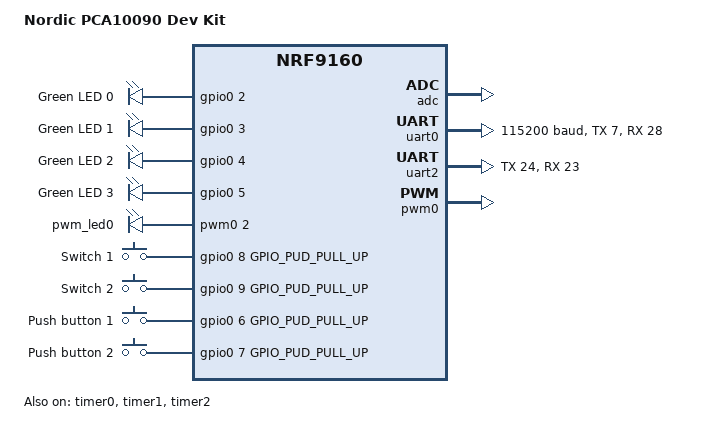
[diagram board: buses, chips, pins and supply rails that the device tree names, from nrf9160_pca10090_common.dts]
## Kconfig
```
#
# Copyright (c) 2018 Nordic Semiconductor ASA
#
# SPDX-License-Identifier: LicenseRef-BSD-5-Clause-Nordic
#

menu "MQTT simple sample"
config APPLICATION_WORKQUEUE_STACK_SIZE
	int "Application workqueue stack size"
	default 4096

config APPLICATION_WORKQUEUE_PRIORITY
	int "Application workqueue priority"
	default SYSTEM_WORKQUEUE_PRIORITY
	
config MQTT_PUB_TOPIC
	string "MQTT publish topic"
	default "my/publish/topic"

config MQTT_SUB_TOPIC
	string "MQTT subscribe topic"
	default "my/subscribe/topic"

config MQTT_CLIENT_ID
	string "MQTT Client ID"
	default "my-client-id"

config MQTT_BROKER_HOSTNAME
	string "MQTT broker hostname"
	default "mqtt.eclipse.org"

config MQTT_BROKER_PORT
	int "MQTT broker port"
	default 1883

config MQTT_MESSAGE_BUFFER_SIZE
	int "MQTT message buffer size"
	default 128

config MQTT_PAYLOAD_BUFFER_SIZE
	int "MQTT payload buffer size"
	default 128

#add by liming
config SEC_TAG
	int "Security tag to use for the connection"
	default 16842753

config PEER_VERIFY
	int "Peer verify parameter for mqtt_client"
	default 1
	help
		Set to 0 for VERIFY_NONE, 1 for VERIFY_OPTIONAL, and 2 for VERIFY_REQUIRED.

endmenu

menu "Zephyr Kernel"
source "$ZEPHYR_BASE/Kconfig.zephyr"
endmenu
```

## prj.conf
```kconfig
#
# Copyright (c) 2019 Nordic Semiconductor ASA
#
# SPDX-License-Identifier: LicenseRef-BSD-5-Clause-Nordic
#
# General config
CONFIG_NEWLIB_LIBC=y
CONFIG_NEWLIB_LIBC_FLOAT_PRINTF=y
CONFIG_ASSERT=y
CONFIG_REBOOT=y
CONFIG_GPIO=n
CONFIG_TRUSTED_EXECUTION_NONSECURE=y

# Log
CONFIG_LOG=y
CONFIG_LOG_IMMEDIATE=y
CONFIG_USE_SEGGER_RTT=y
CONFIG_LOG_BACKEND_RTT=y
CONFIG_LOG_BACKEND_UART=n
CONFIG_LOG_DEFAULT_LEVEL=4
CONFIG_LOG_MODE_OVERFLOW=y
CONFIG_LOG_BACKEND_RTT_MODE_DROP=y
CONFIG_LOG_BACKEND_SHOW_COLOR=n
CONFIG_LOG_BACKEND_FORMAT_TIMESTAMP=n

# Modem info
CONFIG_MODEM_INFO=y

# BSD library
CONFIG_BSD_LIBRARY=y
CONFIG_BSD_LIBRARY_TRACE_ENABLED=n

# Flash
CONFIG_FLASH=y
CONFIG_IMG_ERASE_PROGRESSIVELY=y

# NVS
CONFIG_FLASH=y
CONFIG_FLASH_PAGE_LAYOUT=y
CONFIG_NVS=y
CONFIG_NVS_LOG_LEVEL_DBG=y
CONFIG_MPU_ALLOW_FLASH_WRITE=y

# GPS
CONFIG_AT_CMD=y
CONFIG_AT_NOTIF=y

# AT_CMD
CONFIG_AT_HOST_LIBRARY=y
CONFIG_UART_INTERRUPT_DRIVEN=y

# Console
CONFIG_CONSOLE_SUBSYS=n
CONFIG_CONSOLE_HANDLER=n
CONFIG_CONSOLE_GETCHAR=n
CONFIG_CONSOLE=n
CONFIG_RTT_CONSOLE=n
CONFIG_UART_CONSOLE=n

# Enable SUPL client support AGPS
CONFIG_SUPL_CLIENT_LIB=n

# Network
CONFIG_NETWORKING=y
CONFIG_NET_NATIVE=n
CONFIG_NET_SOCKETS=y
CONFIG_NET_SOCKETS_OFFLOAD=y
CONFIG_NET_SOCKETS_POSIX_NAMES=y
CONFIG_NET_SOCKETS_SOCKOPT_TLS=y

# LTE link control
CONFIG_LTE_LINK_CONTROL=y
CONFIG_LTE_AUTO_INIT_AND_CONNECT=n
CONFIG_LTE_NETWORK_USE_FALLBACK=n
CONFIG_LTE_NETWORK_TIMEOUT=600
#add by liming
#CONFIG_POWER_OPTIMIZATION_ENABLE=n
CONFIG_LTE_NETWORK_MODE_LTE_M_GPS=n
#CONFIG_LTE_LINK_CONTROL_LOG_LEVEL_DBG=y
CONFIG_LTE_NETWORK_MODE_NBIOT_GPS=y
CONFIG_LTE_LEGACY_PCO_MODE=y
#CONFIG_LTE_PSM_REQ_RPTAU="00000110"
#CONFIG_LTE_PSM_REQ_RAT="00000010"

# MQTT
CONFIG_MQTT_LIB=y
CONFIG_MQTT_LIB_TLS=y   
#add by liming
CONFIG_MQTT_CLIENT_ID="devzone_client"
CONFIG_MQTT_BROKER_HOSTNAME="test.mosquitto.org"
CONFIG_MQTT_BROKER_PORT=8884
CONFIG_SEC_TAG=51966
CONFIG_PEER_VERIFY=1

# Appliaction
#CONFIG_MQTT_PUB_TOPIC="/my/publish/topic"
#CONFIG_MQTT_SUB_TOPIC="/my/subscribe/topic"
#CONFIG_MQTT_CLIENT_ID="my-client-id"
#CONFIG_MQTT_BROKER_HOSTNAME="mqtt.eclipse.org"
#CONFIG_MQTT_BROKER_PORT=1883

# Library for buttons and LEDs
CONFIG_DK_LIBRARY=y
CONFIG_DK_LIBRARY_INVERT_LEDS=n

# Heap and stacks
CONFIG_HEAP_MEM_POOL_SIZE=16384
CONFIG_MAIN_STACK_SIZE=8192
CONFIG_SYSTEM_WORKQUEUE_STACK_SIZE=2048
CONFIG_HW_STACK_PROTECTION=y

# MCUBOOT
#CONFIG_BOOTLOADER_MCUBOOT=y
#CONFIG_IMG_MANAGER=y
#CONFIG_MCUBOOT_IMG_MANAGER=y

# SPI
#CONFIG_SPI=y
#CONFIG_SPI_NRFX=y
#CONFIG_SPI_2=y
#CONFIG_SPI_2_NRF_SPIM=y
#CONFIG_SPI_3=y
#CONFIG_SPI_3_NRF_SPIM=y

# I2C
#CONFIG_I2C=y
#CONFIG_I2C_NRFX=y
#CONFIG_I2C_1=y
#CONFIG_I2C_1_NRF_TWIM=y
#CONFIG_I2C_2=n
#CONFIG_I2C_2_NRF_TWIM=n
#CONFIG_I2C_INIT_PRIORITY=60

# UART
CONFIG_SERIAL=y
CONFIG_UART_INTERRUPT_DRIVEN=y
#CONFIG_UART_LINE_CTRL=y
#CONFIG_UART_0_NRF_UART=y
#CONFIG_UART_0_NRF_UARTE=y
#CONFIG_UART_0_NRF_FLOW_CONTROL=n
#CONFIG_UART_1_NRF_UARTE=n
#CONFIG_UART_1_NRF_FLOW_CONTROL=n

# Use smaller buffers for net_buf as CANBUS packets are quite small.
CONFIG_NET_BUF_DATA_SIZE=64
CONFIG_NET_BUF_USER_DATA_SIZE=1
```

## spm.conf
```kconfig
# Configuration copied from the nRF Secure Partition Manager (SPM) sample:
CONFIG_IS_SPM=y
CONFIG_FW_INFO=y
CONFIG_GPIO=n
CONFIG_SERIAL=n
CONFIG_LOG=n
```

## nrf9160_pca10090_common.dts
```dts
/*
 * Copyright (c) 2018 Nordic Semiconductor ASA
 *
 * SPDX-License-Identifier: Apache-2.0
 */

/ {
	model = "Nordic PCA10090 Dev Kit";
	compatible = "nordic,pca10090-dk", "nordic,nrf9160-sica",
		     "nordic,nrf9160";

	chosen {
		zephyr,console = &uart0;
		zephyr,shell-uart = &uart0;
		zephyr,uart-mcumgr = &uart0;
	};

	leds {
		compatible = "gpio-leds";
		led0: led_0 {
			gpios = <&gpio0 2 GPIO_INT_ACTIVE_HIGH>;
			label = "Green LED 0";
		};
		led1: led_1 {
			gpios = <&gpio0 3 GPIO_INT_ACTIVE_HIGH>;
			label = "Green LED 1";
		};
		led2: led_2 {
			gpios = <&gpio0 4 GPIO_INT_ACTIVE_HIGH>;
			label = "Green LED 2";
		};
		led3: led_3 {
			gpios = <&gpio0 5 GPIO_INT_ACTIVE_HIGH>;
			label = "Green LED 3";
		};
	};

	pwmleds {
		compatible = "pwm-leds";
		pwm_led0: pwm_led_0 {
			pwms = <&pwm0 2>;
		};
	};

	buttons {
		compatible = "gpio-keys";
		button0: button_0 {
			gpios = <&gpio0 8 GPIO_PUD_PULL_UP>;
			label = "Switch 1";
		};
		button1: button_1 {
			gpios = <&gpio0 9 GPIO_PUD_PULL_UP>;
			label = "Switch 2";
		};
		button2: button_2 {
			gpios = <&gpio0 6 GPIO_PUD_PULL_UP>;
			label = "Push button 1";
		};
		button3: button_3 {
			gpios = <&gpio0 7 GPIO_PUD_PULL_UP>;
			label = "Push button 2";
		};
	};

	/* These aliases are provided for compatibility with samples */
	aliases {
		led0 = &led0;
		led1 = &led1;
		led2 = &led2;
		led3 = &led3;
		pwm-led0 = &pwm_led0;
		sw0 = &button2;
		sw1 = &button3;
		sw2 = &button0;
		sw3 = &button1;
	};
};

&adc {
	status = "okay";
};

&gpiote {
	status = "okay";
};

&gpio0 {
	status = "okay";
};

&uart0 {
	status = "okay";
	current-speed = <115200>;
	tx-pin = <7>;
	rx-pin = <28>;
	#rts-pin = <27>;
	#cts-pin = <26>;
};

&uart1 {
	status = "disabled";
	current-speed = <115200>;
	tx-pin = <1>;
	rx-pin = <0>;
	rts-pin = <14>;
	cts-pin = <15>;
};

&uart2 {
	tx-pin = <24>;
	rx-pin = <23>;
};

&i2c2 {
	compatible = "nordic,nrf-twim";
	status = "disabled";
	sda-pin = <30>;
	scl-pin = <31>;
};

&pwm0 {
	status = "okay";
	ch0-pin = <2>;
};

&timer0 {
	status = "okay";
};

&timer1 {
	status = "okay";
};

&timer2 {
	status = "okay";
};

&flash0 {
	/*
	 * For more information, see:
	 * http://docs.zephyrproject.org/latest/guides/dts/index.html#flash-partitions
	 */
	partitions {
		compatible = "fixed-partitions";
		#address-cells = <1>;
		#size-cells = <1>;

		boot_partition: partition@0 {
			label = "mcuboot";
			reg = <0x00000000 0x10000>;
		};
		slot0_partition: partition@10000 {
			label = "image-0";
		};
		slot0_ns_partition: partition@40000 {
			label = "image-0-nonsecure";
		};
		slot1_partition: partition@80000 {
			label = "image-1";
		};
		slot1_ns_partition: partition@b0000 {
			label = "image-1-nonsecure";
		};
		scratch_partition: partition@f0000 {
			label = "image-scratch";
			reg = <0x000f0000 0xa000>;
		};
		storage_partition: partition@fa000 {
			label = "storage";
			reg = <0x000fa000 0x00006000>;
		};
	};
};

/ {
	/* SRAM allocated and used by the BSD library */
	sram0_bsd: memory@20010000 {
		compatible = "mmio-sram";
	};

	/* SRAM allocated to the Non-Secure image */
	sram0_ns: memory@20020000 {
		compatible = "mmio-sram";
	};
};

/* Include partition configuration file */
#include "nrf9160_pca10090_partition_conf.dts"
```

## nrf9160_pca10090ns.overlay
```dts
&spi2{
	compatible = "nordic,nrf-spim";
	status = "disabled";
	sck-pin = <3>;
	mosi-pin = <4>;
	miso-pin = <5>;
};

&spi3{
	compatible = "nordic,nrf-spim";
	status = "disabled";
	sck-pin = <22>;
	mosi-pin = <20>;
	miso-pin = <20>;
};

&i2c1{
	compatible = "nordic,nrf-twim";
	status = "disabled";
	sda-pin = <11>;
	scl-pin = <12>;
	clock-frequency = <I2C_BITRATE_FAST>;
};

&uart0{
	status = "okay";
	current-speed = <115200>;
	tx-pin = <7>;
	rx-pin = <28>;
	#rts-pin = <14>;
	#cts-pin = <15>;
};
```

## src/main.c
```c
/*
* Copyright (c) 2019 Nordic Semiconductor ASA
*
* SPDX-License-Identifier: LicenseRef-BSD-5-Clause-Nordic
*/

#include <nrf9160.h>
#include <zephyr.h>
#include <kernel_structs.h>
#include <device.h>
#include <stdio.h>
#include <sys/printk.h>
#include <power/reboot.h>
#include <drivers/spi.h>
#include <drivers/gpio.h>
#include <dk_buttons_and_leds.h>
#include "lcd.h"
#include "datetime.h"
#include "font.h"
#include "img.h"
#include "inner_flash.h"
#include "external_flash.h"
#include "uart_ble.h"
#include "settings.h"
#include "CST816.h"
#include "Max20353.h"
#include "lsm6dso.h"
#include "Alarm.h"
#include "gps.h"
#include "screen.h"
#include "codetrans.h"

#include <logging/log_ctrl.h>
#include <logging/log.h>
LOG_MODULE_REGISTER(main, CONFIG_LOG_DEFAULT_LEVEL);

//#define ANALOG_CLOCK
#define DIGITAL_CLOCK
#define PI 3.1415926

static u8_t show_pic_count = 0;//图片显示顺序

/* Stack definition for application workqueue */
//K_THREAD_STACK_DEFINE(nb_stack_area,
//		      CONFIG_APPLICATION_WORKQUEUE_STACK_SIZE);
//static struct k_work_q nb_work_q;
//K_THREAD_STACK_DEFINE(imu_stack_area,
//              CONFIG_APPLICATION_WORKQUEUE_STACK_SIZE);
//static struct k_work_q imu_work_q;

/* Structures for work */
//static struct k_work nb_link_work;
//static struct k_delayed_work reboot_work;

struct device *gpio_test;

#if defined(ANALOG_CLOCK)
static void test_show_analog_clock(void);
#elif defined(DIGITAL_CLOCK)
static void test_show_digital_clock(void);
#endif
static void idle_show_time(void);

#ifdef ANALOG_CLOCK
void ClearAnalogHourPic(int hour)
{
	u16_t offset_x=4,offset_y=4;
	u16_t hour_x,hour_y,hour_w,hour_h;

	LCD_get_pic_size(clock_hour_1_31X31,&hour_w,&hour_h);
	hour_x = (LCD_WIDTH)/2;
	hour_y = (LCD_HEIGHT)/2;

	if((hour%12) == 3)
		LCD_Fill(hour_x-offset_x,hour_y+offset_y-hour_h,hour_w,hour_h,BLACK);
	else if((hour%12) == 6)
		LCD_Fill(hour_x-offset_x,hour_y-offset_y,hour_w,hour_h,BLACK);
	else if((hour%12) == 9)
		LCD_Fill(hour_x+offset_x-hour_w,hour_y-offset_y,hour_w,hour_h,BLACK);
	else if((hour%12) == 0)
		LCD_Fill(hour_x+offset_x-hour_w,hour_y+offset_y-hour_h,hour_w,hour_h,BLACK);
}

void DrawAnalogHourPic(int hour)
{
	u16_t offset_x=4,offset_y=4;
	u16_t hour_x,hour_y,hour_w,hour_h;
	unsigned int *hour_pic[3] = {clock_hour_1_31X31,clock_hour_2_31X31,clock_hour_3_31X31};

	LCD_get_pic_size(clock_hour_1_31X31,&hour_w,&hour_h);
	hour_x = (LCD_WIDTH)/2;
	hour_y = (LCD_HEIGHT)/2;

	if((hour%12)<3)
		LCD_dis_pic_rotate(hour_x-offset_x,hour_y+offset_y-hour_h,hour_pic[hour%3],0);
	else if(((hour%12)>=3) && ((hour%12)<6))
		LCD_dis_pic_rotate(hour_x-offset_x,hour_y-offset_y,hour_pic[hour%3],90);
	else if(((hour%12)>=6) && ((hour%12)<9))
		LCD_dis_pic_rotate(hour_x+offset_x-hour_w,hour_y-offset_y,hour_pic[hour%3],180);
	else if(((hour%12)>=9) && ((hour%12)<12))
		LCD_dis_pic_rotate(hour_x+offset_x-hour_w,hour_y+offset_y-hour_h,hour_pic[hour%3],270);
}

void ClearAnalogMinPic(int minute)
{
	u16_t offset_x=4,offset_y=4;
	u16_t min_x,min_y,min_w,min_h;
	
	LCD_get_pic_size(clock_min_1_31X31,&min_w,&min_h);
	min_x = (LCD_WIDTH)/2;
	min_y = (LCD_HEIGHT)/2;

	if(minute == 15)
		LCD_Fill(min_x-offset_x,min_y+offset_y-min_h,min_w,min_h,BLACK);
	else if(minute == 30)
		LCD_Fill(min_x-offset_x,min_y-offset_y,min_w,min_h,BLACK);
	else if(minute == 45)
		LCD_Fill(min_x+offset_x-min_w,min_y-offset_y,min_w,min_h,BLACK);
	else if(minute == 0)
		LCD_Fill(min_x+offset_x-min_w,min_y+offset_y-min_h,min_w,min_h,BLACK);
}

void DrawAnalogMinPic(int hour, int minute)
{
	u16_t offset_x=4,offset_y=4;
	u16_t min_x,min_y,min_w,min_h;
	unsigned int *min_pic[15] = {clock_min_1_31X31,clock_min_2_31X31,clock_min_3_31X31,clock_min_4_31X31,clock_min_5_31X31,\
								 clock_min_6_31X31,clock_min_7_31X31,clock_min_8_31X31,clock_min_9_31X31,clock_min_10_31X31,\
								 clock_min_11_31X31,clock_min_12_31X31,clock_min_13_31X31,clock_min_14_31X31,clock_min_15_31X31};
	
	LCD_get_pic_size(clock_min_1_31X31,&min_w,&min_h);
	min_x = (LCD_WIDTH)/2;
	min_y = (LCD_HEIGHT)/2;

	if(minute<15)
	{
		if((hour%12)<3)							//分针时针有重叠，透明显示
		{
			DrawAnalogHourPic(hour);
			LCD_dis_trans_pic_rotate(min_x-offset_x,min_y+offset_y-min_h,min_pic[minute%15],BLACK,0);
		}
		else if((hour%12)==3)		//临界点，分针不透明显示，但是不能遮盖时针
		{
			LCD_dis_pic_rotate(min_x-offset_x,min_y+offset_y-min_h,min_pic[minute%15],0);
			DrawAnalogHourPic(hour);
		}
		else
			LCD_dis_pic_rotate(min_x-offset_x,min_y+offset_y-min_h,min_pic[minute%15],0);
	}
	else if((minute>=15) && (minute<30))
	{
		if(((hour%12)>=3) && ((hour%12)<6))	//分针时针有重叠，透明显示
		{
			DrawAnalogHourPic(hour);
			LCD_dis_trans_pic_rotate(min_x-offset_x,min_y-offset_y,min_pic[minute%15],BLACK,90);
		}
		else if((hour%12)==6)		//临界点，分针不透明显示，但是不能遮盖时针
		{
			LCD_dis_pic_rotate(min_x-offset_x,min_y-offset_y,min_pic[minute%15],90);
			DrawAnalogHourPic(hour);
		}
		else
			LCD_dis_pic_rotate(min_x-offset_x,min_y-offset_y,min_pic[minute%15],90);
	}
	else if((minute>=30) && (minute<45))
	{
		if(((hour%12)>=6) && ((hour%12)<9))	//分针时针有重叠，透明显示
		{
			DrawAnalogHourPic(hour);
			LCD_dis_trans_pic_rotate(min_x+offset_x-min_w,min_y-offset_y,min_pic[minute%15],BLACK,180);
		}
		else if((hour%12)==9)		//临界点，分针不透明显示，但是不能遮盖时针
		{
			LCD_dis_pic_rotate(min_x+offset_x-min_w,min_y-offset_y,min_pic[minute%15],180);
			DrawAnalogHourPic(hour);
		}
		else
			LCD_dis_pic_rotate(min_x+offset_x-min_w,min_y-offset_y,min_pic[minute%15],180);
	}
	else if((minute>=45) && (minute<60))
	{
		if((hour%12)>=9)	//分针时针有重叠，透明显示
		{
			DrawAnalogHourPic(hour);
			LCD_dis_trans_pic_rotate(min_x+offset_x-min_w,min_y+offset_y-min_h,min_pic[minute%15],BLACK,270);
		}
		else if((hour%12)==0)		//临界点，分针不透明显示，但是不能遮盖时针
		{
			LCD_dis_pic_rotate(min_x+offset_x-min_w,min_y+offset_y-min_h,min_pic[minute%15],270);
			DrawAnalogHourPic(hour);
		}
		else
			LCD_dis_pic_rotate(min_x+offset_x-min_w,min_y+offset_y-min_h,min_pic[minute%15],270);
	}
}
#endif

/***************************************************************************
* 描  述 : idle_show_digit_clock 待机界面显示数字时钟
* 入  参 : 无 
* 返回值 : 无
**************************************************************************/
void idle_show_digital_clock(void)
{
	IdleShowSystemTime();
	
	if(show_date_time_first || ((date_time_changed&0x38) != 0))
	{
		IdleShowSystemDate();
		IdleShowSystemWeek();

		if(show_date_time_first)
			show_date_time_first = false;
		if((date_time_changed&0x38) != 0)
			date_time_changed = date_time_changed&0xC7;//清空日期变化标志位
	}
}

#ifdef ANALOG_CLOCK
/***************************************************************************
* 描  述 : idle_show_analog_clock 待机界面显示模拟时钟
* 入  参 : 无 
* 返回值 : 无
**************************************************************************/
void idle_show_analog_clock(void)
{
	u8_t str_date[20] = {0};
	u8_t str_week[20] = {0};
	u8_t *week_cn[7] = {"周日", "周一", "周二", "周三", "周四", "周五", "周六"};
	u8_t *week_en[7] = {"SUN", "MON", "TUE", "WED", "THU", "FRI", "SAT"};
	u16_t str_w,str_h;

	POINT_COLOR=WHITE;								//画笔颜色
	BACK_COLOR=BLACK;  								//背景色 
	
	LCD_SetFontSize(FONT_SIZE_16);

	sprintf((char*)str_date, "%02d/%02d", date_time.day,date_time.month);
	if(language_mode == 0)
		strcpy(str_week, week_cn[date_time.week]);
	else
		strcpy(str_week, week_en[date_time.week]);
	
	if(show_date_time_first)
	{
		show_date_time_first = false;
		DrawAnalogHourPic(date_time.hour);
		DrawAnalogMinPic(date_time.hour, date_time.minute);

		LCD_MeasureString(str_week, &str_w, &str_h);
		LCD_ShowString((LCD_WIDTH-str_w)/2, 15, str_week);

		LCD_MeasureString(str_date, &str_w, &str_h);
		LCD_ShowString((LCD_WIDTH-str_w)/2, 33, str_date);
	}
	else if(date_time_changed != 0)
	{
		if((date_time_changed&0x04) != 0)
		{
			DrawAnalogHourPic(date_time.hour);
			date_time_changed = date_time_changed&0xFB;
		}	
		if((date_time_changed&0x02) != 0)//分钟有变化
		{
			DrawAnalogHourPic(date_time.hour);
			DrawAnalogMinPic(date_time.hour, date_time.minute);
			date_time_changed = date_time_changed&0xFD;
		}
		if((date_time_changed&0x38) != 0)
		{
			LCD_MeasureString(str_week, &str_w, &str_h);
			LCD_ShowString((LCD_WIDTH-str_w)/2, 15, str_week);

			LCD_MeasureString(str_date, &str_w, &str_h);
			LCD_ShowString((LCD_WIDTH-str_w)/2, 33, str_date);

			date_time_changed = date_time_changed&0xC7;//清空日期变化标志位
		}
	}
}
#endif

void idle_show_clock_background(void)
{
	LCD_Clear(BLACK);
	BACK_COLOR=BLACK;
	POINT_COLOR=WHITE;
	
	LCD_SetFontSize(FONT_SIZE_16);

#ifdef ANALOG_CLOCK	
	if(global_settings.idle_colck_mode == CLOCK_MODE_ANALOG)
	{
		LCD_dis_pic(0,0,clock_bg_80X160);
	}
#endif
}

/***************************************************************************
* 描  述 : idle_show_time 待机界面显示时间
* 入  参 : 无 
* 返回值 : 无
**************************************************************************/
void idle_show_time(void)
{	
	if(global_settings.idle_colck_mode == CLOCK_MODE_ANALOG)
	{
	#ifdef ANALOG_CLOCK
		if((date_time_changed&0x02) != 0)
		{
			ClearAnalogMinPic(date_time.minute);//擦除以前的分钟
		}
		if((date_time_changed&0x04) != 0)
		{
			ClearAnalogHourPic(date_time.hour);//擦除以前的时钟
		}

		idle_show_analog_clock();
	#endif
	}
	else
	{
	#ifdef DIGITAL_CLOCK
		if((date_time_changed&0x01) != 0)
		{
			date_time_changed = date_time_changed&0xFE;
			BlockWrite((LCD_WIDTH-8*8)/2+6*8,(LCD_HEIGHT-16)/2,2*8,16);//擦除以前的秒钟
		}
		if((date_time_changed&0x02) != 0)
		{
			date_time_changed = date_time_changed&0xFD;
			BlockWrite((LCD_WIDTH-8*8)/2+3*8,(LCD_HEIGHT-16)/2,2*8,16);//擦除以前的分钟
		}
		if((date_time_changed&0x04) != 0)
		{
			date_time_changed = date_time_changed&0xFB;
			BlockWrite((LCD_WIDTH-8*8)/2,(LCD_HEIGHT-16)/2,2*8,16);//擦除以前的时钟
		}
		
		if((date_time_changed&0x38) != 0)
		{			
			BlockWrite((LCD_WIDTH-10*8)/2,(LCD_HEIGHT-16)/2+30,10*8,16);
		}
		
		idle_show_digital_clock();
	#endif
	}
}

void test_show_analog_clock(void)
{
	u32_t err_code;
	
	global_settings.idle_colck_mode = CLOCK_MODE_ANALOG;
	
	idle_show_clock_background();
	idle_show_time();
}

void test_show_digital_clock(void)
{
	u32_t err_code;
	
	global_settings.idle_colck_mode == CLOCK_MODE_DIGITAL;
	
	idle_show_clock_background();
	idle_show_time();
}

void test_show_image(void)
{
	u8_t i=0;
	u16_t x,y,w=0,h=0;

	LOG_INF("test_show_image\n");
	
	LCD_Clear(BLACK);
	
	//LCD_get_pic_size(peppa_pig_160X160, &w, &h);
	//LCD_dis_pic_rotate(0,200,peppa_pig_160X160,270);
	//LCD_dis_pic(0, 0, peppa_pig_160X160);
	LCD_get_pic_size_from_flash(IMG_RM_LOGO_240X240_ADDR, &w, &h);
	LCD_dis_pic_from_flash(0, 0, IMG_RM_LOGO_240X240_ADDR);
	while(0)
	{
		switch(i)
		{
			case 0:
				//LCD_dis_pic(w*0,h*0,peppa_pig_160X160);
				//LCD_dis_trans_pic(w*0,h*0,peppa_pig_80X160,WHITE);
				LCD_dis_pic_from_flash(w*0, h*0, IMG_PEPPA_160X160_ADDR);
				//LCD_dis_pic_rotate((LCD_WIDTH-w)/2,(LCD_HEIGHT-h)/2,peppa_pig_160X160,0);
				//LCD_dis_trans_pic_rotate((LCD_WIDTH-w)/2,(LCD_HEIGHT-h)/2,peppa_pig_160X160,WHITE,0);
				break;
			case 1:
				//LCD_dis_pic(w*1,h*0,peppa_pig_160X160);
				//LCD_dis_trans_pic(w*1,h*0,peppa_pig_80X160,WHITE);
				LCD_dis_pic_from_flash(w*1, h*0, IMG_PEPPA_160X160_ADDR);
				//LCD_dis_pic_rotate((LCD_WIDTH-w)/2,(LCD_HEIGHT-h)/2,peppa_pig_160X160,90);
				//LCD_dis_trans_pic_rotate((LCD_WIDTH-w)/2,(LCD_HEIGHT-h)/2,peppa_pig_160X160,WHITE,90);
				break;
			case 2:
				//LCD_dis_pic(w*1,h*1,peppa_pig_160X160);
				//LCD_dis_trans_pic(w*1,h*1,peppa_pig_80X160,WHITE);
				LCD_dis_pic_from_flash(w*1, h*1, IMG_PEPPA_160X160_ADDR);
				//LCD_dis_pic_rotate((LCD_WIDTH-w)/2,(LCD_HEIGHT-h)/2,peppa_pig_160X160,180);
				//LCD_dis_trans_pic_rotate((LCD_WIDTH-w)/2,(LCD_HEIGHT-h)/2,peppa_pig_160X160,WHITE,180);
				break;
			case 3:
				//LCD_dis_pic(w*0,h*1,peppa_pig_160X160);
				//LCD_dis_trans_pic(w*0,h*1,peppa_pig_80X160,WHITE);
				LCD_dis_pic_from_flash(w*0, h*1, IMG_PEPPA_160X160_ADDR);
				//LCD_dis_pic_rotate((LCD_WIDTH-w)/2,(LCD_HEIGHT-h)/2,peppa_pig_160X160,270);
				//LCD_dis_trans_pic_rotate((LCD_WIDTH-w)/2,(LCD_HEIGHT-h)/2,peppa_pig_160X160,WHITE,270);
				break;
			case 4:
				LCD_Fill(w*0,h*0,w,h,BLACK);
				break;
			case 5:
				LCD_Fill(w*1,h*0,w,h,BLACK);
				break;
			case 6:
				LCD_Fill(w*1,h*1,w,h,BLACK);
				break;
			case 7:
				LCD_Fill(w*0,h*1,w,h,BLACK);
				break;
		}
		
		i++;
		if(i>=8)
			i=0;
		
		k_sleep(K_MSEC(1000));								//软件延时1000ms
	}
}

void test_show_color(void)
{
	u8_t i=0;

	LOG_INF("test_show_image\n");
	
	while(1)
	{
		switch(i)
		{
			case 0:
				LCD_Clear(WHITE);
				break;
			case 1:
				LCD_Clear(BLACK);
				break;
			case 2:
				LCD_Clear(BLUE);
				break;
			case 3:
				LCD_Clear(BRED);
				break;
			case 4:
				LCD_Clear(GRED);
				break;
			case 5:
				LCD_Clear(GBLUE);
				break;
			case 6:
				LCD_Clear(RED);
				break;
			case 7:
				LCD_Clear(MAGENTA);
				break;
			case 8:
				LCD_Clear(GREEN);
				break;
			case 9:
				LCD_Clear(CYAN);
				break;
			case 10:
				LCD_Clear(YELLOW);
				break;
			case 11:
				LCD_Clear(BROWN);
				break;
			case 12:
				LCD_Clear(BRRED);
				break;
			case 13:
				LCD_Clear(GRAY);
				break;					
		}
		
		i++;
		if(i>=14)
			i=0;
		
		k_sleep(K_MSEC(1000));								//软件延时1000ms
	}
}

void test_show_string(void)
{
	u16_t x,y,w,h;
	u8_t enbuf[64] = {0};
	u8_t cnbuf[64] = {0};
	u8_t jpbuf[64] = {0};
	u16_t en_unibuf[64] = {0x0041,0x0075,0x0067,0x0075,0x0073,0x0074,0x0020,0x0053,0x0068,0x0065,0x006E,0x007A,0x0068,0x0065,0x006E,0x0020,0x0044,0x0049,0x0067,0x0049,0x0074,0x0061,0x006C,0x0020,0x004C,0x0074,0x0064,0x0000};
	u16_t cn_unibuf[64] = {0x6DF1,0x5733,0x5E02,0x5965,0x79D1,0x65AF,0x6570,0x7801,0x6709,0x9650,0x516C,0x53F8,0x0000};
	u16_t jp_unibuf[64] = {0x6DF1,0x30BB,0x30F3,0x5E02,0x30AA,0x30FC,0x30B3,0x30B9,0x30C7,0x30B8,0x30BF,0x30EB,0x6709,0x9650,0x4F1A,0x793E,0x0000};

	LCD_Clear(BLACK);
	
	POINT_COLOR=WHITE;								//画笔颜色
	BACK_COLOR=BLACK;  								//背景色 

#ifdef FONTMAKER_UNICODE_FONT
#ifdef FONT_32
	LCD_SetFontSize(FONT_SIZE_32);					//设置字体大小	
#elif defined(FONT_24)
	LCD_SetFontSize(FONT_SIZE_24);					//设置字体大小
#elif defined(FONT_16)
	LCD_SetFontSize(FONT_SIZE_16);					//设置字体大小
#endif
	LCD_MeasureUniString(en_unibuf,&w,&h);
	x = (w > LCD_WIDTH)? 0 : (LCD_WIDTH-w)/2;
	y = 30;	
	LCD_ShowUniString(x,y,en_unibuf);

	LCD_MeasureUniString(cn_unibuf,&w,&h);
	x = (w > LCD_WIDTH)? 0 : (LCD_WIDTH-w)/2;
	y = y + h + 2;
	LCD_ShowUniString(x,y,cn_unibuf);

	LCD_MeasureUniString(jp_unibuf,&w,&h);
	x = (w > LCD_WIDTH)? 0 : (LCD_WIDTH-w)/2;
	y = y + h + 2;
	LCD_ShowUniString(x,y,jp_unibuf);

#if 0
#ifdef FONT_24
	LCD_SetFontSize(FONT_SIZE_24);					//设置字体大小
#endif
	LCD_MeasureUniString(cn_unibuf,&w,&h);
	x = (w > LCD_WIDTH)? 0 : (LCD_WIDTH-w)/2;
	y = y + h + 2;	
	LCD_ShowUniString(x,y,cn_unibuf);
	
	LCD_MeasureUniString(en_unibuf,&w,&h);
	x = (w > LCD_WIDTH)? 0 : (LCD_WIDTH-w)/2;
	y = y + h + 2;	
	LCD_ShowUniString(x,y,en_unibuf);

#ifdef FONT_32
	LCD_SetFontSize(FONT_SIZE_32);					//设置字体大小
#endif
	LCD_MeasureUniString(cn_unibuf,&w,&h);
	x = (w > LCD_WIDTH)? 0 : (LCD_WIDTH-w)/2;
	y = y + h + 2;	
	LCD_ShowUniString(x,y,cn_unibuf);
	
	LCD_MeasureUniString(en_unibuf,&w,&h);
	x = (w > LCD_WIDTH)? 0 : (LCD_WIDTH-w)/2;
	y = y + h + 2;
	LCD_ShowUniString(x,y,en_unibuf);
#endif
//#else
	strcpy(enbuf, "August Shenzhen Digital Ltd");
	strcpy(cnbuf, "深圳市奥科斯数码有限公司");
	strcpy(jpbuf, "深セン市オーコスデジタル有限会社");

#ifdef FONT_32
	LCD_SetFontSize(FONT_SIZE_32);					//设置字体大小	
#elif defined(FONT_24)
	LCD_SetFontSize(FONT_SIZE_24);					//设置字体大小
#elif defined(FONT_16)
	LCD_SetFontSize(FONT_SIZE_16);					//设置字体大小
#endif

	LCD_MeasureString(enbuf,&w,&h);
	x = (w > LCD_WIDTH)? 0 : (LCD_WIDTH-w)/2;
	y = y + h + 2;	
	LCD_ShowString(x,y,enbuf);
	
	LCD_MeasureString(cnbuf,&w,&h);
	x = (w > LCD_WIDTH)? 0 : (LCD_WIDTH-w)/2;
	y = y + h + 2;
	LCD_ShowString(x,y,cnbuf);
	
	LCD_MeasureString(jpbuf,&w,&h);
	x = (w > LCD_WIDTH)? 0 : (LCD_WIDTH-w)/2;
	y = y + h + 2;
	LCD_ShowString(x,y,jpbuf);

#if 0
#ifdef FONT_24
	LCD_SetFontSize(FONT_SIZE_24);					//设置字体大小
#endif
	LCD_MeasureString(cnbuf,&w,&h);
	x = (w > LCD_WIDTH)? 0 : (LCD_WIDTH-w)/2;
	y = y + h + 2;	
	LCD_ShowString(x,y,cnbuf);
	
	LCD_MeasureString(enbuf,&w,&h);
	x = (w > LCD_WIDTH)? 0 : (LCD_WIDTH-w)/2;
	y = y + h + 2;	
	LCD_ShowString(x,y,enbuf);

#ifdef FONT_32
	LCD_SetFontSize(FONT_SIZE_32);					//设置字体大小
#endif
	LCD_MeasureString(cnbuf,&w,&h);
	x = (w > LCD_WIDTH)? 0 : (LCD_WIDTH-w)/2;
	y = y + h + 2;	
	LCD_ShowString(x,y,cnbuf);
	
	LCD_MeasureString(enbuf,&w,&h);
	x = (w > LCD_WIDTH)? 0 : (LCD_WIDTH-w)/2;
	y = y + h + 2;
	LCD_ShowString(x,y,enbuf);
#endif
#endif
}

void pulldown_gpio(void)
{
	LOG_INF("pulldown_gpio begin\n");

	gpio_test = device_get_binding("GPIO_0");
	if(!gpio_test)
	{
		LOG_INF("Cannot bind gpio device\n");
		return;
	}

	gpio_pin_configure(gpio_test, 0, GPIO_DIR_OUT);
	gpio_pin_write(gpio_test, 0, 0);
	gpio_pin_configure(gpio_test, 1, GPIO_DIR_OUT);
	gpio_pin_write(gpio_test, 1, 0);
	gpio_pin_configure(gpio_test, 2, GPIO_DIR_OUT);
	gpio_pin_write(gpio_test, 2, 0);
	gpio_pin_configure(gpio_test, 3, GPIO_DIR_OUT);
	gpio_pin_write(gpio_test, 3, 0);
	gpio_pin_configure(gpio_test, 4, GPIO_DIR_OUT);
	gpio_pin_write(gpio_test, 4, 0);
	
	gpio_pin_configure(gpio_test, 5, GPIO_DIR_OUT);
	gpio_pin_write(gpio_test, 5, 0);
	gpio_pin_configure(gpio_test, 6, GPIO_DIR_OUT);
	gpio_pin_write(gpio_test, 6, 0);
	gpio_pin_configure(gpio_test, 7, GPIO_DIR_OUT);
	gpio_pin_write(gpio_test, 7, 0);
	gpio_pin_configure(gpio_test, 8, GPIO_DIR_OUT);
	gpio_pin_write(gpio_test, 8, 0);
	gpio_pin_configure(gpio_test, 9, GPIO_DIR_OUT);
	gpio_pin_write(gpio_test, 9, 0);
	
	gpio_pin_configure(gpio_test, 10, GPIO_DIR_OUT);
	gpio_pin_write(gpio_test, 10, 0);
	gpio_pin_configure(gpio_test, 11, GPIO_DIR_OUT);
	gpio_pin_write(gpio_test, 11, 0);	
	gpio_pin_configure(gpio_test, 12, GPIO_DIR_OUT);
	gpio_pin_write(gpio_test, 12, 0);
	gpio_pin_configure(gpio_test, 13, GPIO_DIR_OUT);
	gpio_pin_write(gpio_test, 13, 0);	
	gpio_pin_configure(gpio_test, 14, GPIO_DIR_OUT);
	gpio_pin_write(gpio_test, 14, 0);
	
	gpio_pin_configure(gpio_test, 15, GPIO_DIR_OUT);
	gpio_pin_write(gpio_test, 15, 0);	
	gpio_pin_configure(gpio_test, 16, GPIO_DIR_OUT);
	gpio_pin_write(gpio_test, 16, 0);	
	gpio_pin_configure(gpio_test, 17, GPIO_DIR_OUT);
	gpio_pin_write(gpio_test, 17, 0);	
	gpio_pin_configure(gpio_test, 18, GPIO_DIR_OUT);
	gpio_pin_write(gpio_test, 18, 0);
	gpio_pin_configure(gpio_test, 19, GPIO_DIR_OUT);
	gpio_pin_write(gpio_test, 19, 0);	
	
	gpio_pin_configure(gpio_test, 20, GPIO_DIR_OUT);
	gpio_pin_write(gpio_test, 20, 0);	
	gpio_pin_configure(gpio_test, 21, GPIO_DIR_OUT);
	gpio_pin_write(gpio_test, 21, 0);	
	gpio_pin_configure(gpio_test, 22, GPIO_DIR_OUT);
	gpio_pin_write(gpio_test, 22, 0);
	gpio_pin_configure(gpio_test, 23, GPIO_DIR_OUT);
	gpio_pin_write(gpio_test, 23, 0);
	gpio_pin_configure(gpio_test, 24, GPIO_DIR_OUT);
	gpio_pin_write(gpio_test, 24, 0);

	gpio_pin_configure(gpio_test, 25, GPIO_DIR_OUT);
	gpio_pin_write(gpio_test, 25, 0);
	gpio_pin_configure(gpio_test, 26, GPIO_DIR_OUT);
	gpio_pin_write(gpio_test, 26, 0);
	gpio_pin_configure(gpio_test, 27, GPIO_DIR_OUT);
	gpio_pin_write(gpio_test, 27, 0);	
	gpio_pin_configure(gpio_test, 28, GPIO_DIR_OUT);
	gpio_pin_write(gpio_test, 28, 0);	
	gpio_pin_configure(gpio_test, 29, GPIO_DIR_OUT);
	gpio_pin_write(gpio_test, 29, 0);

	gpio_pin_configure(gpio_test, 30, GPIO_DIR_OUT);
	gpio_pin_write(gpio_test, 30, 0);	
	gpio_pin_configure(gpio_test, 31, GPIO_DIR_OUT);
	gpio_pin_write(gpio_test, 31, 0);

	LOG_INF("pulldown_gpio end\n");
}

void system_init(void)
{
	//InitSystemSettings();
	
	//pmu_init();
	//flash_init();
	//LCD_Init();
	
	//ShowBootUpLogo();

	//pulldown_gpio();
	key_init();
	
	//IMU_init(&imu_work_q);
	//ble_init();//蓝牙UART_0跟AT指令共用，需要AT指令时要关闭这条语句
	//NB_init(&nb_work_q);
	
	//EnterIdleScreen();
}

void work_init(void)
{
//	k_work_q_start(&nb_work_q, nb_stack_area,
//		       		K_THREAD_STACK_SIZEOF(nb_stack_area),
//		       		CONFIG_APPLICATION_WORKQUEUE_PRIORITY);
//	k_work_q_start(&imu_work_q, imu_stack_area,
//					K_THREAD_STACK_SIZEOF(imu_stack_area),
//					CONFIG_APPLICATION_WORKQUEUE_PRIORITY);
}

/***************************************************************************
* 描  述 : main函数 
* 入  参 : 无 
* 返回值 : int 类型
**************************************************************************/
int main(void)
{
//	work_init();
	system_init();

	//dk_leds_init();
	
//	test_show_string();
//	test_show_image();
//	test_nvs();
//	test_flash();
//	test_uart_ble();
//	test_sensor();
//	test_show_digital_clock();
//	test_sensor();
//	test_pmu();
//	test_crypto();
//	test_imei();
//	test_tp();
//	test_gps();
//	test_nb();
//	test_i2c();
//	test_bat_soc();

	while(1)
	{
		//TimeMsgProcess();
		//NBMsgProcess();
		//GPSMsgProcess();
		//PMUMsgProcess();
		//IMUMsgProcess();
		//LCDMsgProcess();
		//TPMsgProcess();
		//AlarmMsgProcess();
		//SettingsMsgPorcess();

		//ScreenMsgProcess();
		k_cpu_idle();
	}
}
```
